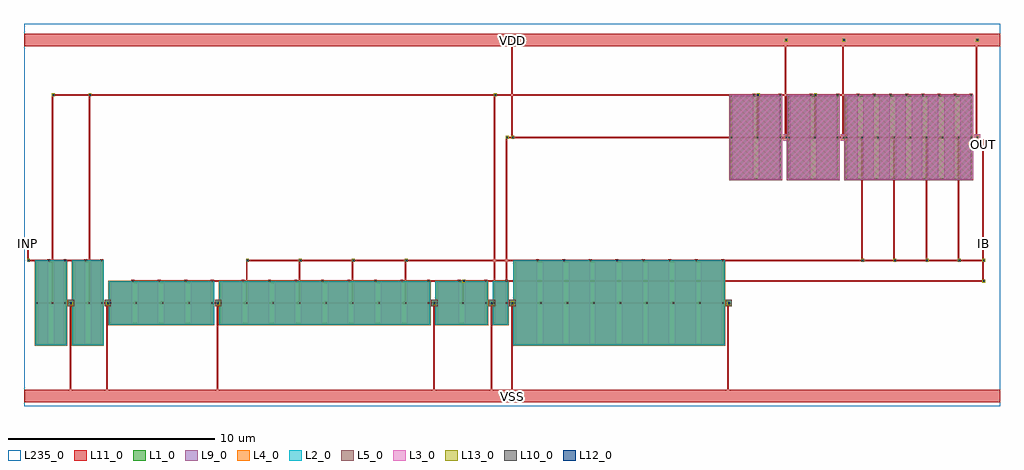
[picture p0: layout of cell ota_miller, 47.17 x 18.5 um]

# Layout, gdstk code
import gdstk
lib = gdstk.Library(unit=1e-6, precision=5e-10)
def R(c, l, rs):  # rectangles x0, y0, x1, y1
    for r in rs: c.add(gdstk.rectangle(r[:2], r[2:], *l))
def A(c, l, x, y, w, h, nx, ny, dx, dy):  # array of equal rectangles
    R(c, l, [(x+i*dx, y+j*dy, x+i*dx+w, y+j*dy+h) for i in range(nx) for j in range(ny)])
def P(c, l, *ps):  # polygons
    for p in ps: c.add(gdstk.Polygon(p, *l))
L1_0 = (1, 0)
L2_0 = (2, 0)
L3_0 = (3, 0)
L4_0 = (4, 0)
L5_0 = (5, 0)
L9_0 = (9, 0)
L10_0 = (10, 0)
L11_0 = (11, 0)
L12_0 = (12, 0)
L13_0 = (13, 0)
L235_0 = (235, 0)

ota_miller = lib.new_cell('ota_miller')
R(ota_miller, L1_0, [(0.6,3,2.02,7), (2.375,3,3.795,7), (23.71,3,33.81,7), (4.15,4,9.13,6), (9.485,4,19.585,6), (19.94,4,22.36,6), (22.715,4,23.355,6), (2.195,4.92,2.355,5.08), (3.97,4.92,4.13,5.08), (9.305,4.92,9.465,5.08), (19.76,4.92,19.92,5.08), (22.535,4.92,22.695,5.08), (23.53,4.92,23.69,5.08), (33.985,4.92,34.145,5.08), (34.165,11,36.585,15), (36.94,11,39.36,15), (39.715,11,45.815,15), (36.76,12.92,36.92,13.08), (39.535,12.92,39.695,13.08), (45.99,12.92,46.15,13.08)])
R(ota_miller, L2_0, [(0.545,2.945,2.075,7.055), (2.32,2.945,3.85,7.055), (23.655,2.945,33.865,7.055), (4.095,3.945,9.185,6.055), (9.43,3.945,19.64,6.055), (19.885,3.945,22.415,6.055), (22.66,3.945,23.41,6.055), (2.125,4.85,2.425,5.15), (3.9,4.85,4.2,5.15), (9.235,4.85,9.535,5.15), (19.69,4.85,19.99,5.15), (22.465,4.85,22.765,5.15), (23.46,4.85,23.76,5.15), (33.915,4.85,34.215,5.15)])
R(ota_miller, L3_0, [(34.11,10.945,36.64,15.055), (36.885,10.945,39.415,15.055), (39.66,10.945,45.87,15.055), (36.69,12.85,36.99,13.15), (39.465,12.85,39.765,13.15), (45.92,12.85,46.22,13.15)])
R(ota_miller, L4_0, [(0.53,2.93,2.09,7.07), (2.305,2.93,3.865,7.07), (23.64,2.93,33.88,7.07), (4.08,3.93,9.2,6.07), (9.415,3.93,19.655,6.07), (19.87,3.93,22.43,6.07), (22.645,3.93,23.425,6.07), (36.69,12.85,36.99,13.15), (39.465,12.85,39.765,13.15), (45.92,12.85,46.22,13.15)])
R(ota_miller, L5_0, [(2.125,4.85,2.425,5.15), (3.9,4.85,4.2,5.15), (9.235,4.85,9.535,5.15), (19.69,4.85,19.99,5.15), (22.465,4.85,22.765,5.15), (23.46,4.85,23.76,5.15), (33.915,4.85,34.215,5.15), (34.095,10.93,36.655,15.07), (36.87,10.93,39.43,15.07), (39.645,10.93,45.885,15.07)])
A(ota_miller, L9_0, 23.78, 2.945, 1, 4.11, 8, 1, 1.28, 0)
A(ota_miller, L9_0, 4.22, 3.945, 1, 2.11, 4, 1, 1.28, 0)
A(ota_miller, L9_0, 9.555, 3.945, 1, 2.11, 8, 1, 1.28, 0)
A(ota_miller, L9_0, 39.785, 10.945, 0.5, 4.11, 8, 1, 0.78, 0)
R(ota_miller, L9_0, [(0.67,2.945,1.17,7.055), (1.45,2.945,1.95,7.055), (2.445,2.945,2.945,7.055), (3.225,2.945,3.725,7.055), (20.01,3.945,21.01,6.055), (21.29,3.945,22.29,6.055), (22.785,3.945,23.285,6.055), (34.235,10.945,35.235,15.055), (35.515,10.945,36.515,15.055), (37.01,10.945,38.01,15.055), (38.29,10.945,39.29,15.055)])
A(ota_miller, L10_0, 13.295, 4.97, 0.065, 0.065, 5, 1, 1.28, 0)
A(ota_miller, L10_0, 24.96, 4.97, 0.065, 0.065, 7, 1, 1.28, 0)
A(ota_miller, L10_0, 5.22, 6.02, 0.065, 0.07, 4, 1, 1.28, 0)
A(ota_miller, L10_0, 10.555, 6.02, 0.065, 0.07, 8, 1, 1.28, 0)
A(ota_miller, L10_0, 24.78, 7.02, 0.065, 0.07, 8, 1, 1.28, 0)
A(ota_miller, L10_0, 40.465, 12.97, 0.065, 0.06, 7, 1, 0.78, 0)
A(ota_miller, L10_0, 40.285, 15.02, 0.065, 0.065, 8, 1, 0.78, 0)
R(ota_miller, L10_0, [(0.6,4.97,0.665,5.035), (1.35,4.97,1.41,5.035), (1.95,4.97,2.015,5.035), (2.24,4.97,2.305,5.035), (2.375,4.97,2.44,5.035), (3.12,4.97,3.185,5.035), (3.725,4.97,3.79,5.035), (4.015,4.97,4.08,5.035), (4.15,4.97,4.215,5.035), (5.4,4.97,5.46,5.035), (6.675,4.97,6.74,5.035), (7.955,4.97,8.02,5.035), (9.06,4.97,9.125,5.035), (9.35,4.97,9.415,5.035), (9.485,4.97,9.55,5.035), (10.73,4.97,10.8,5.035), (12.01,4.97,12.08,5.035), (19.515,4.97,19.58,5.035), (19.81,4.97,19.875,5.035), (19.94,4.97,20.005,5.035), (21.19,4.97,21.255,5.035), (22.29,4.97,22.355,5.035), (22.585,4.97,22.65,5.035), (22.715,4.97,22.78,5.035), (23.285,4.97,23.35,5.035), (23.58,4.97,23.645,5.035), (23.71,4.97,23.775,5.035), (33.74,4.97,33.805,5.035), (34.035,4.97,34.1,5.035), (21.01,6.02,21.075,6.09), (22.29,6.02,22.355,6.09), (23.285,6.02,23.35,6.09), (1.17,7.02,1.235,7.09), (1.95,7.02,2.015,7.09), (2.945,7.02,3.01,7.09), (3.725,7.02,3.79,7.09), (34.165,12.97,34.23,13.03), (35.415,12.97,35.48,13.03), (36.515,12.97,36.58,13.03), (36.81,12.97,36.875,13.03), (36.94,12.97,37.005,13.03), (38.19,12.97,38.255,13.03), (39.29,12.97,39.355,13.03), (39.585,12.97,39.65,13.03), (39.715,12.97,39.78,13.03), (45.745,12.97,45.81,13.03), (46.04,12.97,46.105,13.03), (35.235,15.02,35.3,15.085), (36.515,15.02,36.58,15.085), (38.01,15.02,38.075,15.085), (39.29,15.02,39.355,15.085)])
A(ota_miller, L11_0, 13.26, 4.93, 0.135, 0.14, 5, 1, 1.28, 0)
A(ota_miller, L11_0, 24.925, 4.93, 0.135, 0.14, 7, 1, 1.28, 0)
A(ota_miller, L11_0, 10.73, 5, 0.07, 2.055, 4, 1, 2.56, 0)
A(ota_miller, L11_0, 5.185, 5.99, 0.135, 0.13, 4, 1, 1.28, 0)
A(ota_miller, L11_0, 10.52, 5.99, 0.135, 0.13, 8, 1, 1.28, 0)
A(ota_miller, L11_0, 5.22, 6.02, 0.065, 0.07, 4, 1, 1.28, 0)
A(ota_miller, L11_0, 10.555, 6.02, 0.065, 0.07, 8, 1, 1.28, 0)
A(ota_miller, L11_0, 10.73, 6.985, 0.14, 0.14, 4, 1, 2.56, 0)
A(ota_miller, L11_0, 40.46, 6.985, 0.14, 0.14, 4, 1, 1.56, 0)
A(ota_miller, L11_0, 24.745, 6.99, 0.135, 0.13, 8, 1, 1.28, 0)
A(ota_miller, L11_0, 24.78, 7.02, 0.065, 0.07, 8, 1, 1.28, 0)
A(ota_miller, L11_0, 40.46, 7.055, 0.07, 5.945, 4, 1, 1.56, 0)
A(ota_miller, L11_0, 40.43, 12.93, 0.135, 0.135, 7, 1, 0.78, 0)
A(ota_miller, L11_0, 41.24, 12.97, 0.07, 0.06, 5, 1, 0.78, 0)
A(ota_miller, L11_0, 40.25, 14.985, 0.135, 0.135, 8, 1, 0.78, 0)
A(ota_miller, L11_0, 40.285, 15.02, 0.065, 0.065, 8, 1, 0.78, 0)
R(ota_miller, L11_0, [(0,0.2,47.17,0.8), (0,0.2,47.17,0.8), (2.21,0.47,2.275,0.53), (3.985,0.47,4.05,0.53), (9.32,0.47,9.385,0.53), (19.775,0.47,19.84,0.53), (22.55,0.47,22.615,0.53), (23.545,0.47,23.61,0.53), (23.55,0.47,23.62,0.53), (34,0.47,34.065,0.53), (2.21,0.5,2.275,4.97), (3.98,0.5,4.05,4.97), (9.315,0.5,9.385,4.97), (19.77,0.5,19.84,4.97), (22.55,0.5,22.62,4.97), (23.54,0.5,23.61,4.97), (23.55,0.5,23.62,5), (34,0.5,34.07,4.97), (2.21,4.9,2.35,5.035), (3.98,4.9,4.12,5.035), (9.315,4.9,9.455,5.035), (19.77,4.9,19.91,5.035), (22.55,4.9,22.69,5.035), (23.54,4.9,23.68,5.035), (34,4.9,34.14,5.035), (0.565,4.93,0.7,5.07), (1.315,4.93,1.45,5.07), (1.915,4.93,2.05,5.07), (2.205,4.93,2.34,5.07), (2.34,4.93,2.475,5.07), (3.085,4.93,3.22,5.07), (3.69,4.93,3.825,5.07), (3.98,4.93,4.115,5.07), (4.115,4.93,4.25,5.07), (5.36,4.93,5.5,5.07), (6.64,4.93,6.775,5.07), (7.92,4.93,8.055,5.07), (9.025,4.93,9.16,5.07), (9.315,4.93,9.45,5.07), (9.45,4.93,9.585,5.07), (10.7,4.93,10.83,5.07), (11.98,4.93,12.11,5.07), (19.48,4.93,19.615,5.07), (19.775,4.93,19.91,5.07), (19.905,4.93,20.04,5.07), (21.155,4.93,21.29,5.07), (22.255,4.93,22.39,5.07), (22.55,4.93,22.685,5.07), (22.68,4.93,22.815,5.07), (23.25,4.93,23.385,5.07), (23.545,4.93,23.68,5.07), (23.55,4.93,23.69,5.07), (23.675,4.93,23.81,5.07), (33.705,4.93,33.84,5.07), (34,4.93,34.135,5.07), (2.21,4.935,2.275,5), (3.985,4.935,4.05,5), (9.32,4.935,9.385,5), (19.775,4.935,19.84,5), (22.55,4.935,22.615,5), (23.545,4.935,23.61,5), (34,4.935,34.065,5), (0.6,4.97,0.665,5.035), (0.63,4.97,7.99,5.035), (1.35,4.97,1.41,5.035), (1.95,4.97,2.015,5.035), (2.375,4.97,2.44,5.035), (3.12,4.97,3.185,5.035), (3.725,4.97,3.79,5.035), (4.15,4.97,4.215,5.035), (4.18,4.97,23.585,5.035), (5.4,4.97,5.46,5.035), (6.68,4.97,6.74,5.035), (7.96,4.97,8.025,5.035), (9.06,4.97,9.125,5.035), (9.485,4.97,9.55,5.035), (10.73,4.97,10.8,5.035), (12.01,4.97,12.075,5.035), (13.29,4.97,13.355,5.035), (14.57,4.97,14.64,5.035), (15.85,4.97,15.915,5.035), (17.13,4.97,17.2,5.035), (18.41,4.97,18.48,5.035), (19.515,4.97,19.58,5.035), (19.94,4.97,20.005,5.035), (21.19,4.97,21.25,5.035), (22.29,4.97,22.355,5.035), (22.715,4.97,22.78,5.035), (23.285,4.97,23.35,5.035), (23.32,4.97,33.77,5.035), (23.71,4.97,23.775,5.035), (24.96,4.97,25.02,5.035), (26.24,4.97,26.3,5.035), (27.52,4.97,27.585,5.035), (28.8,4.97,28.86,5.035), (30.08,4.97,30.14,5.035), (31.36,4.97,31.425,5.035), (32.64,4.97,32.7,5.035), (33.74,4.97,33.805,5.035), (1.345,5,1.415,15.055), (3.12,5,3.19,15.055), (21.185,5,21.255,6.055), (22.71,5,22.78,15.055), (21.185,5.985,21.325,6.125), (46.32,5.985,46.46,6.125), (20.975,5.99,21.11,6.12), (22.255,5.99,22.39,6.12), (23.25,5.99,23.385,6.12), (5.25,6.02,46.35,6.09), (21.01,6.02,21.075,6.09), (22.29,6.02,22.355,6.09), (23.285,6.02,23.35,6.09), (23.28,6.055,23.35,13), (46.32,6.055,46.39,7.85), (0.145,6.985,0.285,7.125), (0.145,6.985,0.285,7.125), (46.32,6.985,46.46,7.125), (1.135,6.99,1.27,7.12), (1.915,6.99,2.05,7.12), (2.91,6.99,3.045,7.12), (3.69,6.99,3.825,7.12), (0.15,7,0.215,7.5), (0.18,7.02,3.76,7.09), (0.18,7.02,1.98,7.09), (1.17,7.02,1.235,7.09), (1.95,7.02,2.015,7.09), (2.945,7.02,3.01,7.09), (3.725,7.02,3.79,7.09), (10.765,7.02,46.35,7.09), (0.145,7.055,0.22,7.85), (0.145,7.055,0.22,7.25), (46.32,7.055,46.39,12.65), (0.15,7.22,0.215,7.28), (0.15,7.6,0.215,8.1), (46.32,7.6,46.385,8.1), (0.15,7.82,0.215,7.88), (46.32,7.82,46.385,7.88), (46.32,12.4,46.385,12.9), (46.32,12.62,46.385,12.68), (23.28,12.93,23.42,13.07), (23.55,12.93,23.69,13.07), (34.13,12.93,34.265,13.065), (35.38,12.93,35.515,13.065), (36.48,12.93,36.615,13.065), (36.775,12.93,36.91,13.065), (36.905,12.93,37.04,13.065), (38.155,12.93,38.29,13.065), (39.255,12.93,39.39,13.065), (39.55,12.93,39.685,13.065), (39.68,12.93,39.815,13.065), (45.71,12.93,45.845,13.065), (46.005,12.93,46.14,13.065), (36.775,12.935,36.84,13), (39.55,12.935,39.615,13), (46.005,12.935,46.07,13), (23.32,12.97,45.78,13.03), (34.165,12.97,34.23,13.03), (35.41,12.97,35.48,13.03), (36.515,12.97,36.58,13.03), (36.77,12.97,36.84,17.7), (36.94,12.97,37.005,13.03), (38.19,12.97,38.25,13.03), (39.29,12.97,39.355,13.03), (39.55,12.97,39.62,17.7), (39.715,12.97,39.78,13.03), (40.46,12.97,40.525,13.03), (45.14,12.97,45.205,13.03), (45.745,12.97,45.81,13.03), (46,12.97,46.07,17.7), (23.55,13,23.62,17.7), (35.41,13,35.48,15.055), (38.185,13,38.255,15.055), (1.345,14.985,1.485,15.125), (3.12,14.985,3.26,15.125), (22.71,14.985,22.85,15.125), (35.2,14.985,35.335,15.12), (35.41,14.985,35.55,15.125), (36.48,14.985,36.615,15.12), (37.975,14.985,38.11,15.12), (38.185,14.985,38.325,15.125), (39.255,14.985,39.39,15.12), (1.38,15.02,39.32,15.085), (3.155,15.02,45.78,15.085), (35.235,15.02,35.3,15.085), (36.515,15.02,36.58,15.085), (38.01,15.02,38.075,15.085), (39.29,15.02,39.355,15.085), (0,17.4,47.17,18), (0,17.4,47.17,18), (36.77,17.63,36.91,17.77), (39.55,17.63,39.69,17.77), (46,17.63,46.14,17.77), (23.55,17.67,23.62,17.735), (36.775,17.67,36.84,17.735), (39.55,17.67,39.615,17.735), (46.005,17.67,46.07,17.735)])
P(ota_miller, L11_0, [(36.805,17.67),(36.805,17.735),(36.805,17.735),(36.805,17.67)],
  [(39.585,17.67),(39.585,17.735),(39.585,17.735),(39.585,17.67)],
  [(46.04,17.67),(46.04,17.735),(46.04,17.735),(46.04,17.67)],
  [(19.81,4.935),(19.81,5),(19.81,5),(19.81,4.935)],
  [(22.58,4.935),(22.58,5),(22.58,5),(22.58,4.935)],
  [(23.58,4.935),(23.58,5),(23.58,5),(23.58,4.935)],
  [(2.24,4.935),(2.24,5),(2.24,5),(2.24,4.935)],
  [(4.02,4.935),(4.02,5),(4.02,5),(4.02,4.935)],
  [(9.35,4.935),(9.35,5),(9.35,5),(9.35,4.935)],
  [(34.03,4.935),(34.03,5),(34.03,5),(34.03,4.935)])
A(ota_miller, L12_0, 10.765, 7.02, 0.07, 0.07, 4, 1, 2.56, 0)
A(ota_miller, L12_0, 40.495, 7.02, 0.07, 0.07, 4, 1, 1.56, 0)
R(ota_miller, L12_0, [(2.24,4.93,2.31,5.005), (4.02,4.93,4.09,5.005), (9.35,4.93,9.42,5.005), (19.81,4.93,19.88,5.005), (22.58,4.93,22.65,5.005), (23.58,4.93,23.65,5.005), (34.03,4.93,34.1,5.005), (23.585,4.965,23.655,5.035), (21.22,6.02,21.29,6.09), (46.35,6.02,46.42,6.09), (0.18,7.02,0.25,7.09), (0.18,7.02,0.25,7.09), (46.35,7.02,46.42,7.09), (23.32,12.965,23.39,13.035), (23.585,12.965,23.655,13.035), (1.38,15.02,1.45,15.09), (3.155,15.02,3.225,15.09), (22.75,15.02,22.82,15.09), (35.445,15.02,35.515,15.09), (38.22,15.02,38.29,15.09), (36.805,17.665,36.875,17.735), (39.585,17.665,39.655,17.735), (46.04,17.665,46.11,17.735)])
A(ota_miller, L13_0, 10.73, 6.985, 0.14, 0.14, 4, 1, 2.56, 0)
A(ota_miller, L13_0, 40.46, 6.985, 0.14, 0.14, 4, 1, 1.56, 0)
R(ota_miller, L13_0, [(2.21,4.9,2.35,5.035), (3.98,4.9,4.12,5.035), (9.315,4.9,9.455,5.035), (19.77,4.9,19.91,5.035), (22.55,4.9,22.69,5.035), (23.54,4.9,23.68,5.035), (34,4.9,34.14,5.035), (23.55,4.93,23.69,5.07), (21.185,5.985,21.325,6.125), (46.32,5.985,46.46,6.125), (0.145,6.985,0.285,7.125), (0.145,6.985,0.285,7.125), (46.32,6.985,46.46,7.125), (23.28,12.93,23.42,13.07), (23.55,12.93,23.69,13.07), (1.345,14.985,1.485,15.125), (3.12,14.985,3.26,15.125), (22.71,14.985,22.85,15.125), (35.41,14.985,35.55,15.125), (38.185,14.985,38.325,15.125), (36.77,17.63,36.91,17.77), (39.55,17.63,39.69,17.77), (46,17.63,46.14,17.77)])
R(ota_miller, L235_0, [(0,0,47.17,18.5)])
ota_miller.add(gdstk.Label('VDD', (23.585,17.7), layer=11, texttype=1))
ota_miller.add(gdstk.Label('VSS', (23.585,0.5), layer=11, texttype=1))
ota_miller.add(gdstk.Label('INP', (0.18,7.85), layer=11, texttype=1))
ota_miller.add(gdstk.Label('INN', (0.18,7.25), layer=11, texttype=1))
ota_miller.add(gdstk.Label('IB', (46.355,7.85), layer=11, texttype=1))
ota_miller.add(gdstk.Label('OUT', (46.355,12.65), layer=11, texttype=1))

lib.write_gds('ota_miller.gds')
